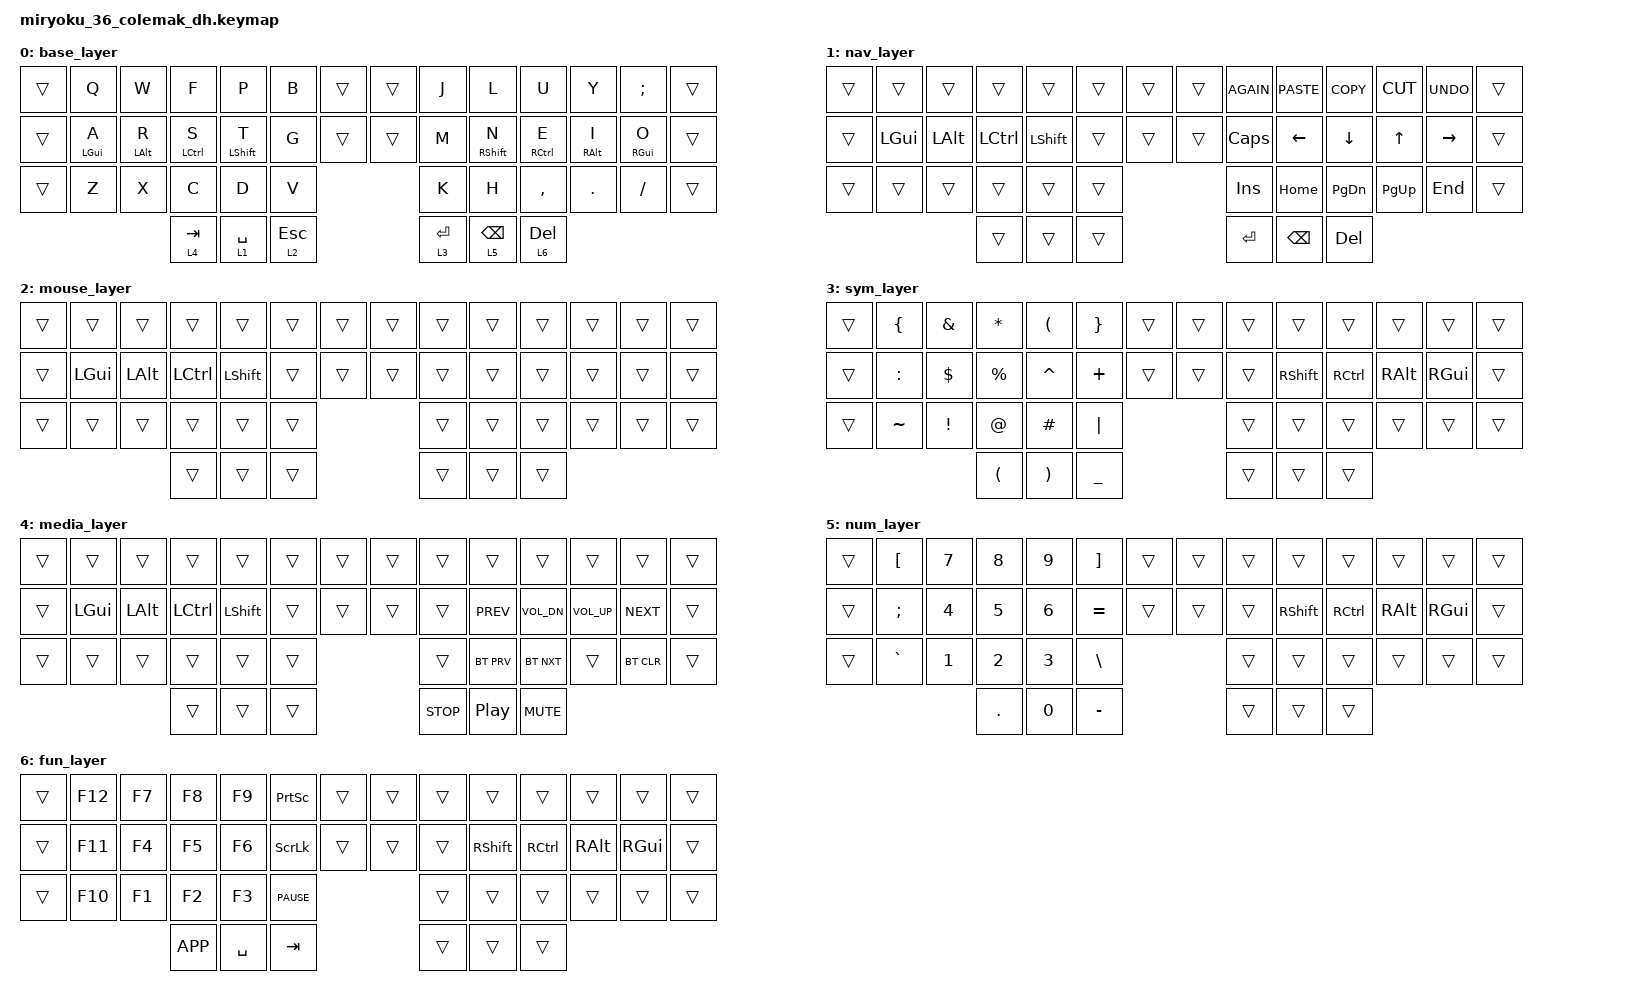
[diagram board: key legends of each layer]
#include <behaviors.dtsi>
#include <dt-bindings/zmk/keys.h>
#include <dt-bindings/zmk/bt.h>
#include <dt-bindings/zmk/rgb.h>

/ {
    chosen {
        zmk,physical-layout = &base_layer;
    };
};

/ {
    keymap {
        compatible = "zmk,keymap";

        // LAYER 0: BASE (COLEMAK-DH)
        base_layer {
            bindings = <
                &trans  &kp Q      &kp W      &kp F       &kp P       &kp B      &trans        &trans  &kp J       &kp L       &kp U       &kp Y       &kp SEMI   &trans
                &trans  &hm LGUI A &hm LALT R &hm LCTRL S &hm LSHFT T &kp G      &trans        &trans  &kp M       &hm RSHFT N &hm RCTRL E &hm RALT I  &hm RGUI O &trans
                &trans  &kp Z      &kp X      &kp C       &kp D       &kp V                            &kp K       &kp H       &kp COMMA   &kp DOT     &kp FSLH   &trans
                                              &lt 4 TAB   &lt 1 SPACE &lt 2 ESC                        &lt 3 RET   &lt 5 BSPC  &lt 6 DEL
            >;
        };

        // LAYER 1: NAV (Left Thumb Middle)
        nav_layer {
            bindings = <
                &trans  &trans     &trans     &trans      &trans      &trans     &trans        &trans  &kp AGAIN   &kp PASTE   &kp COPY    &kp CUT     &kp UNDO   &trans
                &trans  &kp LGUI   &kp LALT   &kp LCTRL   &kp LSHFT   &trans     &trans        &trans  &kp CAPS    &kp LEFT    &kp DOWN    &kp UP      &kp RIGHT  &trans
                &trans  &trans     &trans     &trans      &trans      &trans                           &kp INS     &kp HOME    &kp PG_DN   &kp PG_UP   &kp END    &trans
                                              &trans      &trans      &trans                           &kp RET     &kp BSPC    &kp DEL
            >;
        };

        // LAYER 2: MOUSE (Left Thumb Inner) - Placeholder for Mouse Keys
        mouse_layer {
            bindings = <
                &trans  &trans     &trans     &trans      &trans      &trans     &trans        &trans  &trans      &trans      &trans      &trans      &trans     &trans
                &trans  &kp LGUI   &kp LALT   &kp LCTRL   &kp LSHFT   &trans     &trans        &trans  &trans      &trans      &trans      &trans      &trans     &trans
                &trans  &trans     &trans     &trans      &trans      &trans                           &trans      &trans      &trans      &trans      &trans     &trans
                                              &trans      &trans      &trans                           &trans      &trans      &trans
            >;
        };

        // LAYER 3: SYM (Right Thumb Inner)
        sym_layer {
            bindings = <
                &trans  &kp LBRC   &kp AMPS   &kp ASTRK   &kp LPAR    &kp RBRC   &trans        &trans  &trans      &trans      &trans      &trans      &trans     &trans
                &trans  &kp COLON  &kp DLLR   &kp PRCNT   &kp CARET   &kp PLUS   &trans        &trans  &trans      &kp RSHFT   &kp RCTRL   &kp RALT    &kp RGUI   &trans
                &trans  &kp TILDE  &kp EXCL   &kp AT      &kp HASH    &kp PIPE                         &trans      &trans      &trans      &trans      &trans     &trans
                                              &kp LPAR    &kp RPAR    &kp UNDER                        &trans      &trans      &trans
            >;
        };

        // LAYER 4: MEDIA (Left Thumb Outer)
        media_layer {
            bindings = <
                &trans  &trans     &trans     &trans      &trans      &trans     &trans        &trans  &trans      &trans      &trans      &trans      &trans     &trans
                &trans  &kp LGUI   &kp LALT   &kp LCTRL   &kp LSHFT   &trans     &trans        &trans  &trans      &kp C_PREV  &kp C_VOL_DN &kp C_VOL_UP &kp C_NEXT &trans
                &trans  &trans     &trans     &trans      &trans      &trans                           &trans      &bt BT_PRV  &bt BT_NXT  &trans      &bt BT_CLR &trans
                                              &trans      &trans      &trans                           &kp C_STOP  &kp C_PP    &kp C_MUTE
            >;
        };

        // LAYER 5: NUM (Right Thumb Middle)
        num_layer {
            bindings = <
                &trans  &kp LBKT   &kp N7     &kp N8      &kp N9      &kp RBKT   &trans        &trans  &trans      &trans      &trans      &trans      &trans     &trans
                &trans  &kp SEMI   &kp N4     &kp N5      &kp N6      &kp EQUAL  &trans        &trans  &trans      &kp RSHFT   &kp RCTRL   &kp RALT    &kp RGUI   &trans
                &trans  &kp GRAVE  &kp N1     &kp N2      &kp N3      &kp BSLH                         &trans      &trans      &trans      &trans      &trans     &trans
                                              &kp DOT     &kp N0      &kp MINUS                        &trans      &trans      &trans
            >;
        };

        // LAYER 6: FUN (Right Thumb Outer)
        fun_layer {
            bindings = <
                &trans  &kp F12    &kp F7     &kp F8      &kp F9      &kp PSCRN  &trans        &trans  &trans      &trans      &trans      &trans      &trans     &trans
                &trans  &kp F11    &kp F4     &kp F5      &kp F6      &kp SLCK   &trans        &trans  &trans      &kp RSHFT   &kp RCTRL   &kp RALT    &kp RGUI   &trans
                &trans  &kp F10    &kp F1     &kp F2      &kp F3      &kp PAUSE                        &trans      &trans      &trans      &trans      &trans     &trans
                                              &kp K_APP   &kp SPACE   &kp TAB                          &trans      &trans      &trans
            >;
        };
    };
};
